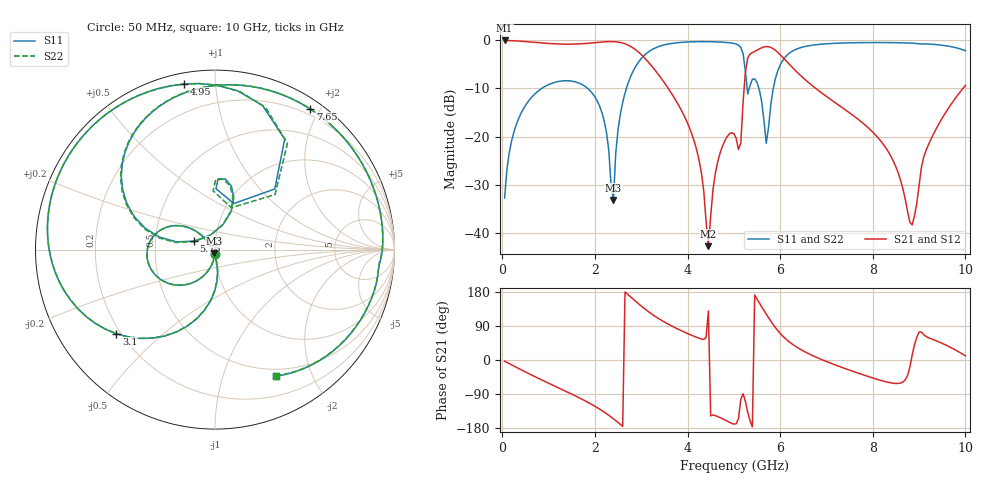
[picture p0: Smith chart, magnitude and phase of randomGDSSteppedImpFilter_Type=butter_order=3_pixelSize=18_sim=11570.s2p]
! freq	dB(S11)	phase(S11)	dB(S12)	phase(S12)
!  dB(S21)	phase(S21)	dB(S22)	phase(S22)
!S-par simulation data
#  GHz  S  DB  R 50
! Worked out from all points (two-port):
!   200 points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, 50 MHz to 10 GHz, reference 50 ohm
!   highest |S21| = -0.02 dB at 50 MHz (marker M1); lowest = -42.8 dB at 4.45 GHz (marker M2)
!   |S21| within 3 dB of the highest: start of sweep to 3.006 GHz; 5.339 GHz to 6.005 GHz (666.1 MHz wide, 11.7 % of centre)
!   lowest |S11| = -33.2 dB at 2.4 GHz (marker M3), VSWR 1.04, Z = 49.4 - j2.1 ohm
!   |S11| at or under -10 dB: start of sweep to 851 MHz; 1.844 GHz to 2.68 GHz (835.7 MHz wide, 36.9 % of centre); 5.542 GHz to 5.85 GHz (308.5 MHz wide, 5.42 % of centre) (the widest 3 of 4)
!   |S22| runs from -33.0 to -0.3 dB; largest |S21 - S12| = 0
!   S11 on the Smith chart (normalised r, x): 50 MHz: 1.00, -0.05; 3.1 GHz: 0.18, -0.36; 4.95 GHz: 0.05, +0.83; 5.75 GHz: 0.79, +0.08; 7.65 GHz: 0.13, +1.88; 10 GHz: 0.41, -1.51
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0.05  -32.78 -91.2  -0.02 -3.3  -0.02 -3.3  -32.78 -91.2
0.55  -12.83 -125.0  -0.28 -34.6  -0.28 -34.6  -12.83 -125.0
1.75  -9.34 164.9  -0.68 -105.3  -0.68 -105.3  -9.34 164.9
2.2  -16.72 135.6  -0.30 -137.5  -0.30 -137.5  -16.72 135.8
2.4  -33.18 -104.3  -0.26 -155.2  -0.26 -155.2  -32.97 -106.3
2.6  -12.87 -90.0  -0.56 -175.3  -0.56 -175.3  -12.87 -90.3
3.1  -2.82 -139.5  -3.94 132.7  -3.94 132.7  -2.82 -139.7
3.4  -1.21 -164.5  -7.47 107.4  -7.47 107.4  -1.21 -164.6
4.15  -0.28 150.2  -21.16 62.1  -21.16 62.1  -0.28 150.0
4.45  -0.27 134.1  -42.80 129.3  -42.80 129.3  -0.27 133.9
4.6  -0.30 125.6  -27.67 -146.8  -27.67 -146.8  -0.30 125.3
4.95  -0.55 100.7  -19.19 -166.9  -19.19 -166.9  -0.56 100.1
5.05  -0.76 89.6  -20.37 -168.4  -20.37 -168.4  -0.78 88.7
5.3  -11.15 67.8  -3.66 -138.2  -3.66 -138.2  -12.03 68.6
5.75  -18.02 157.9  -1.32 111.5  -1.32 111.5  -18.10 159.1
6  -5.13 152.4  -2.96 70.4  -2.96 70.4  -5.13 153.0
6.7  -0.99 99.9  -9.47 11.7  -9.47 11.7  -0.99 100.4
7.65  -0.48 55.9  -16.15 -33.2  -16.15 -33.2  -0.48 56.4
8.35  -0.46 25.5  -23.40 -59.3  -23.40 -59.3  -0.46 26.0
8.85  -0.58 2.2  -38.38 12.3  -38.38 12.3  -0.58 2.7
9.15  -0.74 -12.1  -22.89 62.1  -22.89 62.1  -0.74 -11.6
10  -2.13 -64.4  -9.36 11.1  -9.36 11.1  -2.14 -64.1
